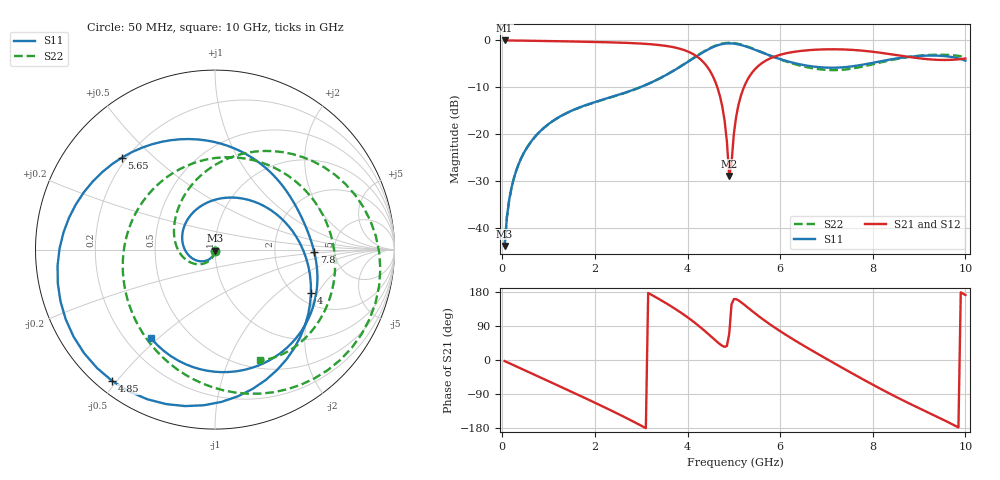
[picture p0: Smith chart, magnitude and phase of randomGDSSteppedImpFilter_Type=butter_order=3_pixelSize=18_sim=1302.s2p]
! freq	dB(S11)	phase(S11)	dB(S12)	phase(S12)
!  dB(S21)	phase(S21)	dB(S22)	phase(S22)
!S-par simulation data
#  GHz  S  DB  R 50
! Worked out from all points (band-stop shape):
!   200 points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, 50 MHz to 10 GHz, reference 50 ohm
!   highest |S21| = 0.00 dB at 50 MHz (marker M1); lowest = -29.0 dB at 4.9 GHz (marker M2)
!   |S21| within 3 dB of the highest: start of sweep to 4.135 GHz; 6.023 GHz to 8.427 GHz (2.404 GHz wide, 33.3 % of centre)
!   lowest |S11| = -43.9 dB at 50 MHz (marker M3), VSWR 1.01, Z = 49.9 - j0.633 ohm
!   |S11| at or under -10 dB: start of sweep to 2.974 GHz
!   |S22| runs from -44.0 to -0.5 dB; largest |S21 - S12| = 0
!   S11 on the Smith chart (normalised r, x): 50 MHz: 1.00, -0.01; 4 GHz: 2.38, -1.76; 4.85 GHz: 0.05, -0.49; 5.65 GHz: 0.18, +0.40; 7.8 GHz: 3.47, -0.14; 10 GHz: 0.30, -0.47
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0.05  -43.93 -95.1  -0.00 -2.8  -0.00 -2.8  -43.96 -94.6
0.2  -31.43 -105.1  -0.01 -11.1  -0.01 -11.1  -31.44 -102.5
0.5  -23.44 -123.0  -0.05 -28.0  -0.05 -28.0  -23.45 -116.3
1.15  -16.82 -164.2  -0.15 -64.4  -0.15 -64.4  -16.85 -147.5
1.75  -14.00 155.9  -0.27 -98.3  -0.27 -98.3  -14.05 -175.3
2.7  -10.99 87.0  -0.52 -154.4  -0.52 -154.4  -11.04 142.1
3.4  -8.10 30.5  -0.99 159.8  -0.99 159.8  -8.10 107.1
4  -4.63 -24.4  -2.33 112.8  -2.33 112.8  -4.56 67.5
4.3  -2.74 -56.8  -4.21 84.2  -4.21 84.2  -2.65 41.6
4.6  -1.21 -94.1  -8.83 52.1  -8.83 52.1  -1.10 10.5
4.85  -0.64 -128.0  -21.61 37.1  -21.61 37.1  -0.52 -18.4
4.9  -0.62 -134.9  -28.97 68.6  -28.97 68.6  -0.50 -24.2
5.05  -0.74 -155.0  -16.28 160.5  -16.28 160.5  -0.63 -41.3
5.25  -1.25 179.6  -9.26 143.5  -9.26 143.5  -1.15 -62.7
5.65  -2.74 135.4  -4.56 105.4  -4.56 105.4  -2.71 -99.5
6.15  -4.43 90.8  -2.70 64.4  -2.70 64.4  -4.57 -138.8
6.7  -5.56 52.3  -2.01 24.1  -2.01 24.1  -5.94 177.4
7.2  -5.82 25.4  -1.89 -10.9  -1.89 -10.9  -6.33 132.7
7.8  -5.14 -1.4  -2.20 -51.8  -2.20 -51.8  -5.55 76.0
8.35  -4.12 -26.4  -2.89 -87.8  -2.89 -87.8  -4.30 29.1
9.35  -3.23 -78.0  -4.12 -147.6  -4.12 -147.6  -3.05 -36.6
10  -4.30 -125.8  -3.86 171.5  -3.86 171.5  -3.54 -68.1
